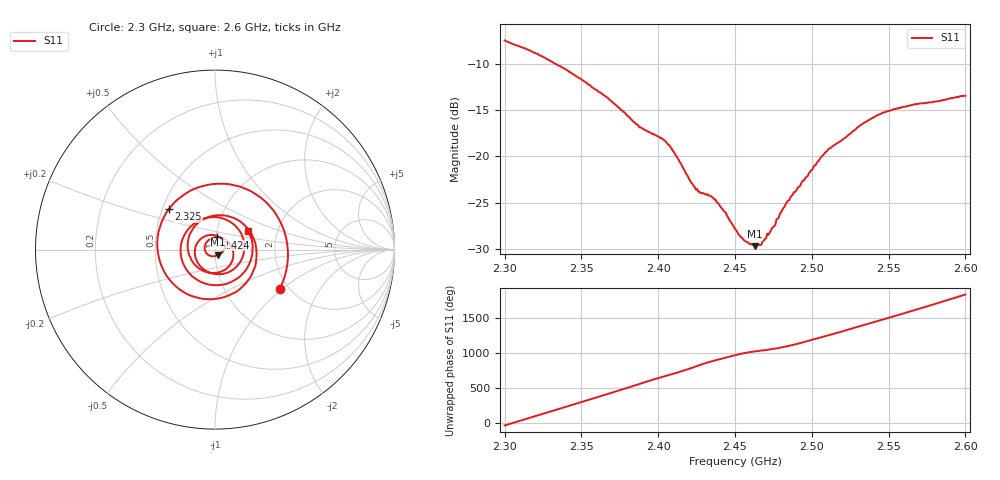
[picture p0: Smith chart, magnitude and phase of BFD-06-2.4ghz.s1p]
! NanoVNA-App
! Date: 2026-05-22 18:18:33
! Start: 2.3GHz Stop: 2.6GHz Points: 401
! S-Parameter data: F S11
# Hz S RI R 50
!  Frequency  S11_Real  S11_Imag
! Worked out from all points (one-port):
!   401 points, 2.3 GHz to 2.6 GHz, reference 50 ohm
!   lowest |S11| = -29.7 dB at 2.463 GHz (marker M1), VSWR 1.07, Z = 51.7 - j2.89 ohm
!   |S11| at or under -10 dB: 2.333 GHz to end of sweep
!   S11 on the Smith chart (normalised r, x): 2.3 GHz: 1.79, -0.96; 2.325 GHz: 0.54, +0.28; 2.424 GHz: 1.01, +0.14; 2.6 GHz: 1.41, +0.31
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2.3e9  0.3599 -0.22
2.30675e9  0.3881 0.095
2.31425e9  0.1681 0.3396
2.3195e9  -0.0529 0.3577
2.3255e9  -0.2553 0.2273
2.3315e9  -0.3214 0.012
2.3375e9  -0.2381 -0.1853
2.34575e9  0.0133 -0.2728
2.35625e9  0.2282 -0.07
2.366e9  0.1382 0.1579
2.375e9  -0.0618 0.1712
2.38475e9  -0.1523 0.00682
2.39525e9  -0.0441 -0.1262
2.4125e9  0.0983 0.00141
2.42375e9  0.00938 0.0679
2.45e9  -0.0163 -0.0373
2.46275e9  0.0172 -0.0279
2.4875e9  0.0525 0.0328
2.501e9  -0.0322 0.0811
2.51225e9  -0.1109 0.00245
2.525e9  -0.0241 -0.1303
2.543e9  0.1625 0.0395
2.5535e9  0.0291 0.178
2.5625e9  -0.1425 0.1211
2.5715e9  -0.1832 -0.0619
2.582e9  -0.00534 -0.1982
2.59175e9  0.1866 -0.0879
2.6e9  0.1844 0.1054
